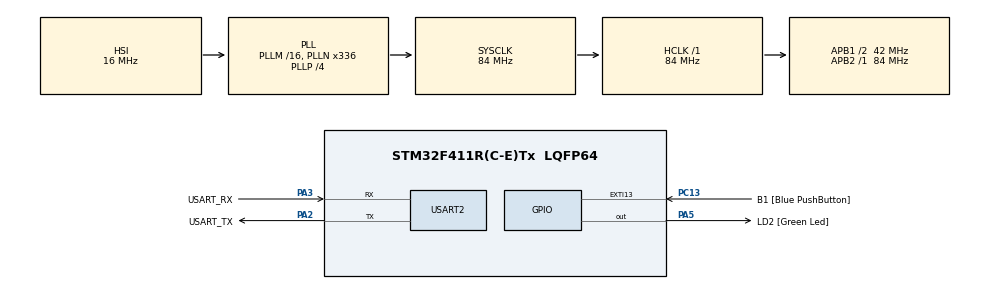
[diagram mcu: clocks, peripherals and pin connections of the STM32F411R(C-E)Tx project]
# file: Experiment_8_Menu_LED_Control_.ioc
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Mcu.Family=STM32F4
Mcu.Name=STM32F411R(C-E)Tx
Mcu.Package=LQFP64
NVIC.PriorityGroup=NVIC_PRIORITYGROUP_0
NVIC.USART2_IRQn=true\:0\:0\:false\:false\:true\:true\:true
PA13.GPIO_Label=TMS
PA13.Mode=Serial_Wire
PA13.Signal=SYS_JTMS-SWDIO
PA14.GPIO_Label=TCK
PA14.Mode=Serial_Wire
PA14.Signal=SYS_JTCK-SWCLK
PA2.GPIO_Label=USART_TX
PA2.Mode=Asynchronous
PA2.Signal=USART2_TX
PA3.GPIO_Label=USART_RX
PA3.Mode=Asynchronous
PA3.Signal=USART2_RX
PA5.GPIO_Label=LD2 [Green Led]
PA5.Signal=GPIO_Output
PB3.GPIO_Label=SWO
PB3.Signal=SYS_JTDO-SWO
PC13-ANTI_TAMP.GPIO_Label=B1 [Blue PushButton]
PC13-ANTI_TAMP.GPIO_ModeDefaultEXTI=GPIO_MODE_IT_FALLING
PC13-ANTI_TAMP.Signal=GPXTI13
PC14-OSC32_IN.Mode=LSE-External-Oscillator
PC14-OSC32_IN.Signal=RCC_OSC32_IN
PC15-OSC32_OUT.Mode=LSE-External-Oscillator
PC15-OSC32_OUT.Signal=RCC_OSC32_OUT
PH0\ -\ OSC_IN.Mode=HSE-External-Clock-Source
PH0\ -\ OSC_IN.Signal=RCC_OSC_IN
PH1\ -\ OSC_OUT.Mode=HSE-External-Clock-Source
PH1\ -\ OSC_OUT.Signal=RCC_OSC_OUT
ProjectManager.HeapSize=0x200
ProjectManager.StackSize=0x400
ProjectManager.TargetToolchain=STM32CubeIDE
RCC.48MHZClocksFreq_Value=84000000
RCC.AHBFreq_Value=84000000
RCC.APB1CLKDivider=RCC_HCLK_DIV2
RCC.APB1Freq_Value=42000000
RCC.APB1TimFreq_Value=84000000
RCC.APB2Freq_Value=84000000
RCC.APB2TimFreq_Value=84000000
RCC.CortexFreq_Value=84000000
RCC.FLatency-AdvancedSettings=FLASH_LATENCY_2
RCC.HCLKFreq_Value=84000000
RCC.HSE_VALUE=8000000
RCC.HSI_VALUE=16000000
RCC.PLLN=336
RCC.PLLP=RCC_PLLP_DIV4
RCC.SYSCLKFreq_VALUE=84000000
RCC.SYSCLKSource=RCC_SYSCLKSOURCE_PLLCLK
RCC.VCOOutputFreq_Value=336000000
USART2.VirtualMode=VM_ASYNC
board=NUCLEO-F411RE

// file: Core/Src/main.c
/* USER CODE BEGIN Header */
/**
  ******************************************************************************
  * @file           : main.c
  * @brief          : Main program body
  ******************************************************************************
  * @attention
  *
  * Copyright (c) 2022 STMicroelectronics.
  * All rights reserved.
  *
  * This software is licensed under terms that can be found in the LICENSE file
  * in the root directory of this software component.
  * If no LICENSE file comes with this software, it is provided AS-IS.
  *
  ******************************************************************************
  */
/* USER CODE END Header */
#include "main.h"

/* USER CODE BEGIN Includes */

#include <stdio.h>
#include <string.h>

/* USER CODE END Includes */

UART_HandleTypeDef huart2;

/* USER CODE BEGIN PV */

char RxDataBuffer[3] ={ 0 };
char Checkfromlast[3]={0};
char TxDataBuffer[20] ={ 0 };
uint16_t LEDtoggle = 1000;
uint8_t count = 0;
uint8_t checkclickB1 = 0;
uint32_t Timecount = 0;

/* USER CODE END PV */

void SystemClock_Config(void);
static void MX_GPIO_Init(void);
static void MX_USART2_UART_Init(void);
/* USER CODE BEGIN PFP */

void CodeselectingMenu(uint16_t numselect);

int16_t UARTRecieveIT();

/* USER CODE END PFP */

int main(void)
{

  /* MCU Configuration--------------------------------------------------------*/

  /* Reset of all peripherals, Initializes the Flash interface and the Systick. */
  HAL_Init();

  /* Configure the system clock */
  SystemClock_Config();

  /* Initialize all configured peripherals */
  MX_GPIO_Init();
  MX_USART2_UART_Init();
  /* USER CODE BEGIN 2 */

//  system("CLS");		//clear screen display

  // First time Print the menu
  char Select_Menu[]="Please Select the Menu from Below\r\n 0.LED Control\r\n 1.button Status\r\n";
  HAL_UART_Transmit(&huart2, (uint8_t*)Select_Menu, strlen(Select_Menu), 10);			// Function that get form keyboard to stm32

  /* USER CODE END 2 */

  /* Infinite loop */
  /* USER CODE BEGIN WHILE */
  while (1)
  {

	  // TimeDelay for loop slow
	  static uint32_t timeUpdate = 0;
	  if (HAL_GetTick() - timeUpdate >= 100){
		  timeUpdate = HAL_GetTick();

		  // 	Method Interrupt checking click
		  HAL_UART_Receive_IT(&huart2,  (uint8_t*)RxDataBuffer, 3);

		  // this function is trick for 1 round to detect that have type in
		  int16_t inputchar = UARTRecieveIT();	// this buffer is for call cpu wait to do another thing

		  if(inputchar!=-1)
		  {
			  CodeselectingMenu(inputchar);
			  sprintf(TxDataBuffer, "ReceivedChar:[%c]\r\n", inputchar);		// default function printf
			  HAL_UART_Transmit(&huart2, (uint8_t*)TxDataBuffer, strlen(TxDataBuffer), 1000);
		  }
	  }

	  // This section just simmulate the LED work
	  static uint32_t timeStamp = 0;
	  Timecount = HAL_GetTick();
	  if(Timecount - timeStamp >= LEDtoggle){
		  timeStamp = HAL_GetTick();
		  HAL_GPIO_TogglePin(LD2_GPIO_Port, LD2_Pin);
	  }

    /* USER CODE END WHILE */

  }
}

void SystemClock_Config(void)
{
  RCC_OscInitTypeDef RCC_OscInitStruct = {0};
  RCC_ClkInitTypeDef RCC_ClkInitStruct = {0};

  /** Configure the main internal regulator output voltage
  */
  __HAL_RCC_PWR_CLK_ENABLE();
  __HAL_PWR_VOLTAGESCALING_CONFIG(PWR_REGULATOR_VOLTAGE_SCALE1);
  /** Initializes the RCC Oscillators according to the specified parameters
  * in the RCC_OscInitTypeDef structure.
  */
  RCC_OscInitStruct.OscillatorType = RCC_OSCILLATORTYPE_HSI;
  RCC_OscInitStruct.HSIState = RCC_HSI_ON;
  RCC_OscInitStruct.HSICalibrationValue = RCC_HSICALIBRATION_DEFAULT;
  RCC_OscInitStruct.PLL.PLLState = RCC_PLL_ON;
  RCC_OscInitStruct.PLL.PLLSource = RCC_PLLSOURCE_HSI;
  RCC_OscInitStruct.PLL.PLLM = 16;
  RCC_OscInitStruct.PLL.PLLN = 336;
  RCC_OscInitStruct.PLL.PLLP = RCC_PLLP_DIV4;
  RCC_OscInitStruct.PLL.PLLQ = 4;
  if (HAL_RCC_OscConfig(&RCC_OscInitStruct) != HAL_OK)
  {
    Error_Handler();
  }
  /** Initializes the CPU, AHB and APB buses clocks
  */
  RCC_ClkInitStruct.ClockType = RCC_CLOCKTYPE_HCLK|RCC_CLOCKTYPE_SYSCLK
                              |RCC_CLOCKTYPE_PCLK1|RCC_CLOCKTYPE_PCLK2;
  RCC_ClkInitStruct.SYSCLKSource = RCC_SYSCLKSOURCE_PLLCLK;
  RCC_ClkInitStruct.AHBCLKDivider = RCC_SYSCLK_DIV1;
  RCC_ClkInitStruct.APB1CLKDivider = RCC_HCLK_DIV2;
  RCC_ClkInitStruct.APB2CLKDivider = RCC_HCLK_DIV1;

  if (HAL_RCC_ClockConfig(&RCC_ClkInitStruct, FLASH_LATENCY_2) != HAL_OK)
  {
    Error_Handler();
  }
}

static void MX_USART2_UART_Init(void)
{

  huart2.Instance = USART2;
  huart2.Init.BaudRate = 115200;
  huart2.Init.WordLength = UART_WORDLENGTH_8B;
  huart2.Init.StopBits = UART_STOPBITS_1;
  huart2.Init.Parity = UART_PARITY_NONE;
  huart2.Init.Mode = UART_MODE_TX_RX;
  huart2.Init.HwFlowCtl = UART_HWCONTROL_NONE;
  huart2.Init.OverSampling = UART_OVERSAMPLING_16;
  if (HAL_UART_Init(&huart2) != HAL_OK)
  {
    Error_Handler();
  }

}

static void MX_GPIO_Init(void)
{
  GPIO_InitTypeDef GPIO_InitStruct = {0};

  /* GPIO Ports Clock Enable */
  __HAL_RCC_GPIOC_CLK_ENABLE();
  __HAL_RCC_GPIOH_CLK_ENABLE();
  __HAL_RCC_GPIOA_CLK_ENABLE();
  __HAL_RCC_GPIOB_CLK_ENABLE();

  /*Configure GPIO pin Output Level */
  HAL_GPIO_WritePin(LD2_GPIO_Port, LD2_Pin, GPIO_PIN_RESET);

  /*Configure GPIO pin : B1_Pin */
  GPIO_InitStruct.Pin = B1_Pin;
  GPIO_InitStruct.Mode = GPIO_MODE_IT_FALLING;
  GPIO_InitStruct.Pull = GPIO_NOPULL;
  HAL_GPIO_Init(B1_GPIO_Port, &GPIO_InitStruct);

  /*Configure GPIO pin : LD2_Pin */
  GPIO_InitStruct.Pin = LD2_Pin;
  GPIO_InitStruct.Mode = GPIO_MODE_OUTPUT_PP;
  GPIO_InitStruct.Pull = GPIO_NOPULL;
  GPIO_InitStruct.Speed = GPIO_SPEED_FREQ_LOW;
  HAL_GPIO_Init(LD2_GPIO_Port, &GPIO_InitStruct);

}

/* USER CODE BEGIN 4 */

int16_t UARTRecieveIT()		// this function is to check
{
	static uint32_t dataPos =0;		// track recently position
	int16_t data=-1;
	if(huart2.RxXferSize - huart2.RxXferCount!=dataPos)  // this will work if size - typein don't be zero
	{
		data=RxDataBuffer[dataPos];		//get data of char position in array of RxDataBuffer (the data that return is a number is ASCII)
		dataPos= (dataPos+1)%huart2.RxXferSize;		//calculate if the value is go to the end after mod with size of huart2.RxXferSize will continue to count the first once again
	}
	return data;
}

// A = ASCII "65" And a = ASCII "97"
// S = ASCII "83" And s = ASCII "115"
// D = ASCII "68" And d = ASCII "100"
// X = ASCII "88" And x = ASCII "120"
// 0 = ASCII "48"
// 1 = ASCII "49"

//Menu Bar
void CodeselectingMenu(uint16_t numselect){
	//Announce List Menu in char
	char LED_Menu[]="You are Selecting LED Control Menu\r\n a:Speed Up +1Hz\r\n s:Speed Down -1Hz\r\n d:On/off\r\n x:back\r\n";
	char button_Status[]="You are Selecting Button Status Menu\r\n x:back\r\n You need to press B1 switch to detect and show status\r\n" ;
	char Selecting_speed_up_LED[]="You are seclecting Speed Up +1Hz Function\r\n";
	char Selecting_speed_down_LED[]="You are seclecting Speed Down -1Hz Function\r\n";
	char Selecting_On_or_Off_LED[]="You are seclecting On/Off Function\r\n";
	char Selecting_back[]="You are seclecting back Function\r\n";
	char Select_Menu[]="Please Select the Menu from Below\r\n 0.LED Control\r\n 1.button Status\r\n";
	char Do_not_Press_Button_B1[]="Button B1 don't press\r\n";
	char Press_Button_B1[]="Button B1 press\r\n";
//	HAL_UART_Transmit(&huart2, (uint8_t*)Select_Menu, strlen(Select_Menu), 10);

	Checkfromlast[count] = numselect;
	if(Checkfromlast[0] == 48 || Checkfromlast[0] == 49){
			switch(Checkfromlast[0]){
				case 48 :
					HAL_UART_Transmit(&huart2, (uint8_t*)LED_Menu, strlen(LED_Menu), 10);		// Display LED_Menu
					count = 1;
					if(Checkfromlast[1] == 97 || Checkfromlast[1] == 115 || Checkfromlast[1] == 100 || Checkfromlast[1] == 120){
						switch(Checkfromlast[1]){
							case 97:
								HAL_UART_Transmit(&huart2, (uint8_t*)Selecting_speed_up_LED, strlen(Selecting_speed_up_LED), 10);		// Display Speed Up Function
								LEDtoggle++;
								Checkfromlast[1] = 0;
								break;
							case 115:
								HAL_UART_Transmit(&huart2, (uint8_t*)Selecting_speed_down_LED, strlen(Selecting_speed_down_LED), 10);		// Display Speed Down Function
								LEDtoggle--;
								Checkfromlast[1] = 0;
								break;
							case 100:
								HAL_UART_Transmit(&huart2, (uint8_t*)Selecting_On_or_Off_LED, strlen(Selecting_On_or_Off_LED), 10);		// Display On/Off Function
								HAL_GPIO_TogglePin(GPIOA, GPIO_PIN_5);
								Checkfromlast[1] = 0;
								break;
							case 120:
								HAL_UART_Transmit(&huart2, (uint8_t*)Selecting_back, strlen(Selecting_back), 10);		// Display Back Function
								Checkfromlast[0] = 0;
								Checkfromlast[1] = 0;
								count = 0;
								HAL_UART_Transmit(&huart2, (uint8_t*)Select_Menu, strlen(Select_Menu), 10);
								break;
						}
					}
					break;
				case 49 :
					HAL_UART_Transmit(&huart2, (uint8_t*)button_Status, strlen(button_Status), 10);		// Display button_Status_Menu
					count = 1;
					if (Checkfromlast[1] == 120){
						HAL_UART_Transmit(&huart2, (uint8_t*)Selecting_back, strlen(Selecting_back), 10);		// Display Back Function
						Checkfromlast[0] = 0;
						Checkfromlast[1] = 0;
						count = 0;
						HAL_UART_Transmit(&huart2, (uint8_t*)Select_Menu, strlen(Select_Menu), 10);
					}

					checkclickB1 = HAL_GPIO_ReadPin(GPIOC, GPIO_PIN_13);
					if(checkclickB1 == 1){
						HAL_UART_Transmit(&huart2, (uint8_t*)Do_not_Press_Button_B1, strlen(Do_not_Press_Button_B1), 10);
					}
					else if(checkclickB1 == 0){
						HAL_UART_Transmit(&huart2, (uint8_t*)Press_Button_B1, strlen(Press_Button_B1), 10);
					}
					break;
		}
	}
}

//void HAL_UART_RxCpltCallback(UART_HandleTypeDef *huart)			// run 1 interrupt after type all character in value RxDataBuffer
//{
//	sprintf(TxDataBuffer, "Received:[%s]\r\n", RxDataBuffer);
//	HAL_UART_Transmit(&huart2, (uint8_t*)TxDataBuffer, strlen(TxDataBuffer), 1000);		//Function that get form stm32 to display monitor
//}

/* USER CODE END 4 */

void Error_Handler(void)
{
  __disable_irq();
  while (1)
  {
  }
}
